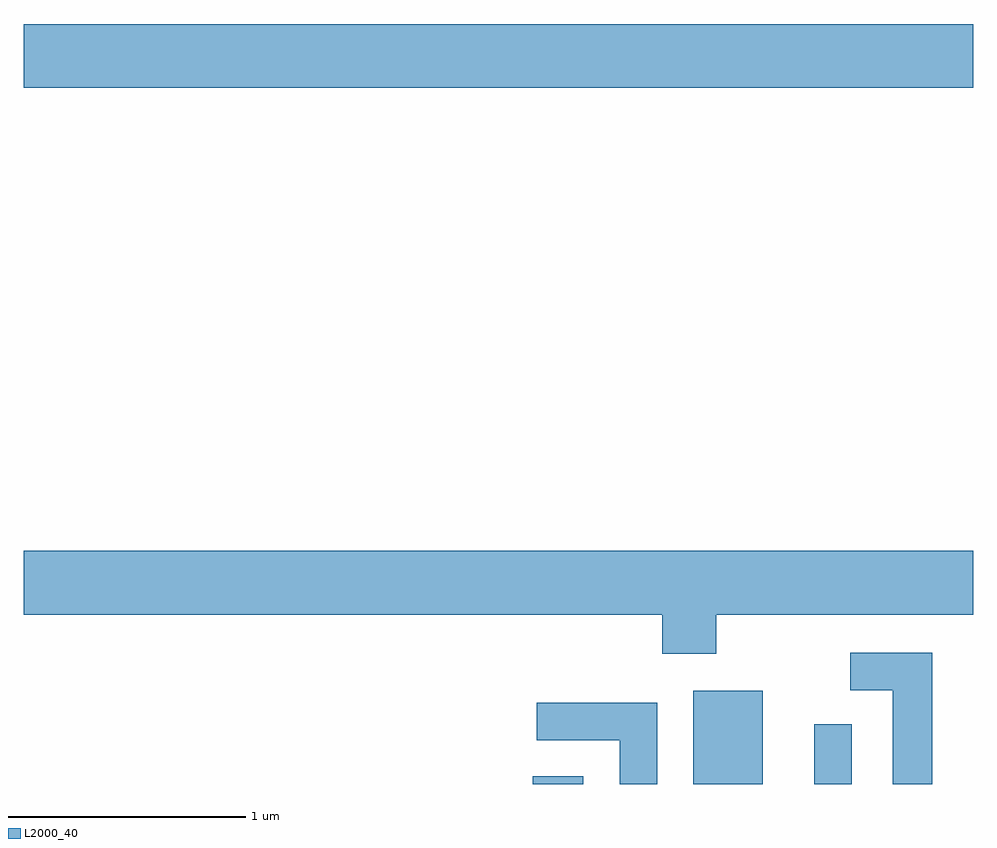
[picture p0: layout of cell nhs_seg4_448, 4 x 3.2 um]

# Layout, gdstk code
import gdstk
lib = gdstk.Library(unit=1e-6, precision=1e-09)
def R(c, l, rs):  # rectangles x0, y0, x1, y1
    for r in rs: c.add(gdstk.rectangle(r[:2], r[2:], *l))
def P(c, l, *ps):  # polygons
    for p in ps: c.add(gdstk.Polygon(p, *l))
L2000_40 = (2000, 40)

nhs_seg4_448 = lib.new_cell('nhs_seg4_448')
R(nhs_seg4_448, L2000_40, [(199.756,1333.982,199.969,1334.014), (200.431,1333.982,200.724,1334.374), (200.941,1333.982,201.099,1334.233), (197.611,1336.916,201.611,1337.184)])
P(nhs_seg4_448, L2000_40, [(200.529,1334.696),(201.611,1334.696),(201.611,1334.964),(197.611,1334.964),(197.611,1334.696),(200.301,1334.696),(200.301,1334.531),(200.529,1334.531)],
  [(201.439,1334.534),(201.093,1334.534),(201.093,1334.376),(201.271,1334.376),(201.271,1333.982),(201.439,1333.982)],
  [(200.279,1334.324),(199.773,1334.324),(199.773,1334.166),(200.121,1334.166),(200.121,1333.982),(200.279,1333.982)])

lib.write_gds('nhs_seg4_448.gds')
